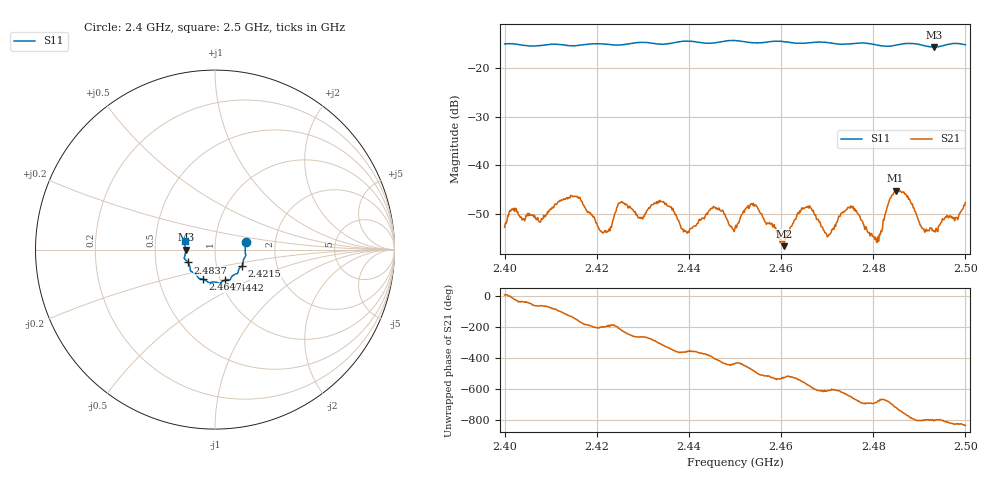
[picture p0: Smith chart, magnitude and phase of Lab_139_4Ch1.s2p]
# Hz S RI R 50
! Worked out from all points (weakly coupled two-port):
!   601 points, 2.4 GHz to 2.5 GHz, reference 50 ohm
!   highest |S21| = -45.15 dB at 2.4848 GHz (marker M1); lowest = -56.6 dB at 2.4607 GHz (marker M2)
!   lowest |S11| = -15.7 dB at 2.4932 GHz (marker M3), VSWR 1.39, Z = 36 - j0.062 ohm
!   |S11| at or under -10 dB: start of sweep to end of sweep
!   S12 and S22 are empty: the file has one direction only
!   S11 on the Smith chart (normalised r, x): 2.4 GHz: 1.41, +0.12; 2.4215 GHz: 1.33, -0.25; 2.4442 GHz: 1.05, -0.37; 2.4647 GHz: 0.83, -0.28; 2.4837 GHz: 0.73, -0.11; 2.5 GHz: 0.71, +0.07
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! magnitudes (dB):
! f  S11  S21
! 2.4 GHz  -15.1  -52.7
! 2.4015 GHz  -15.0  -49.0
! 2.4167 GHz  -15.3  -47.4
! 2.4215 GHz  -15.1  -53.8
! 2.4252 GHz  -15.3  -47.7
! 2.4295 GHz  -14.8  -50.9
! 2.4333 GHz  -15.1  -47.3
! 2.4393 GHz  -14.5  -53.4
! 2.4442 GHz  -15.0  -49.6
! 2.45 GHz  -14.4  -52.8
! 2.454 GHz  -14.9  -47.8
! 2.4607 GHz  -14.6  -56.6
! 2.4647 GHz  -15.0  -48.9
! 2.4667 GHz  -14.8  -49.0
! 2.4703 GHz  -14.8  -54.2
! 2.4755 GHz  -15.0  -48.7
! 2.4807 GHz  -15.3  -55.5
! 2.4833 GHz  -15.6  -47.6
! 2.4837 GHz  -15.5  -46.7
! 2.4848 GHz  -15.4  -45.1
! 2.4932 GHz  -15.7  -53.5
! 2.5 GHz  -15.3  -47.6
